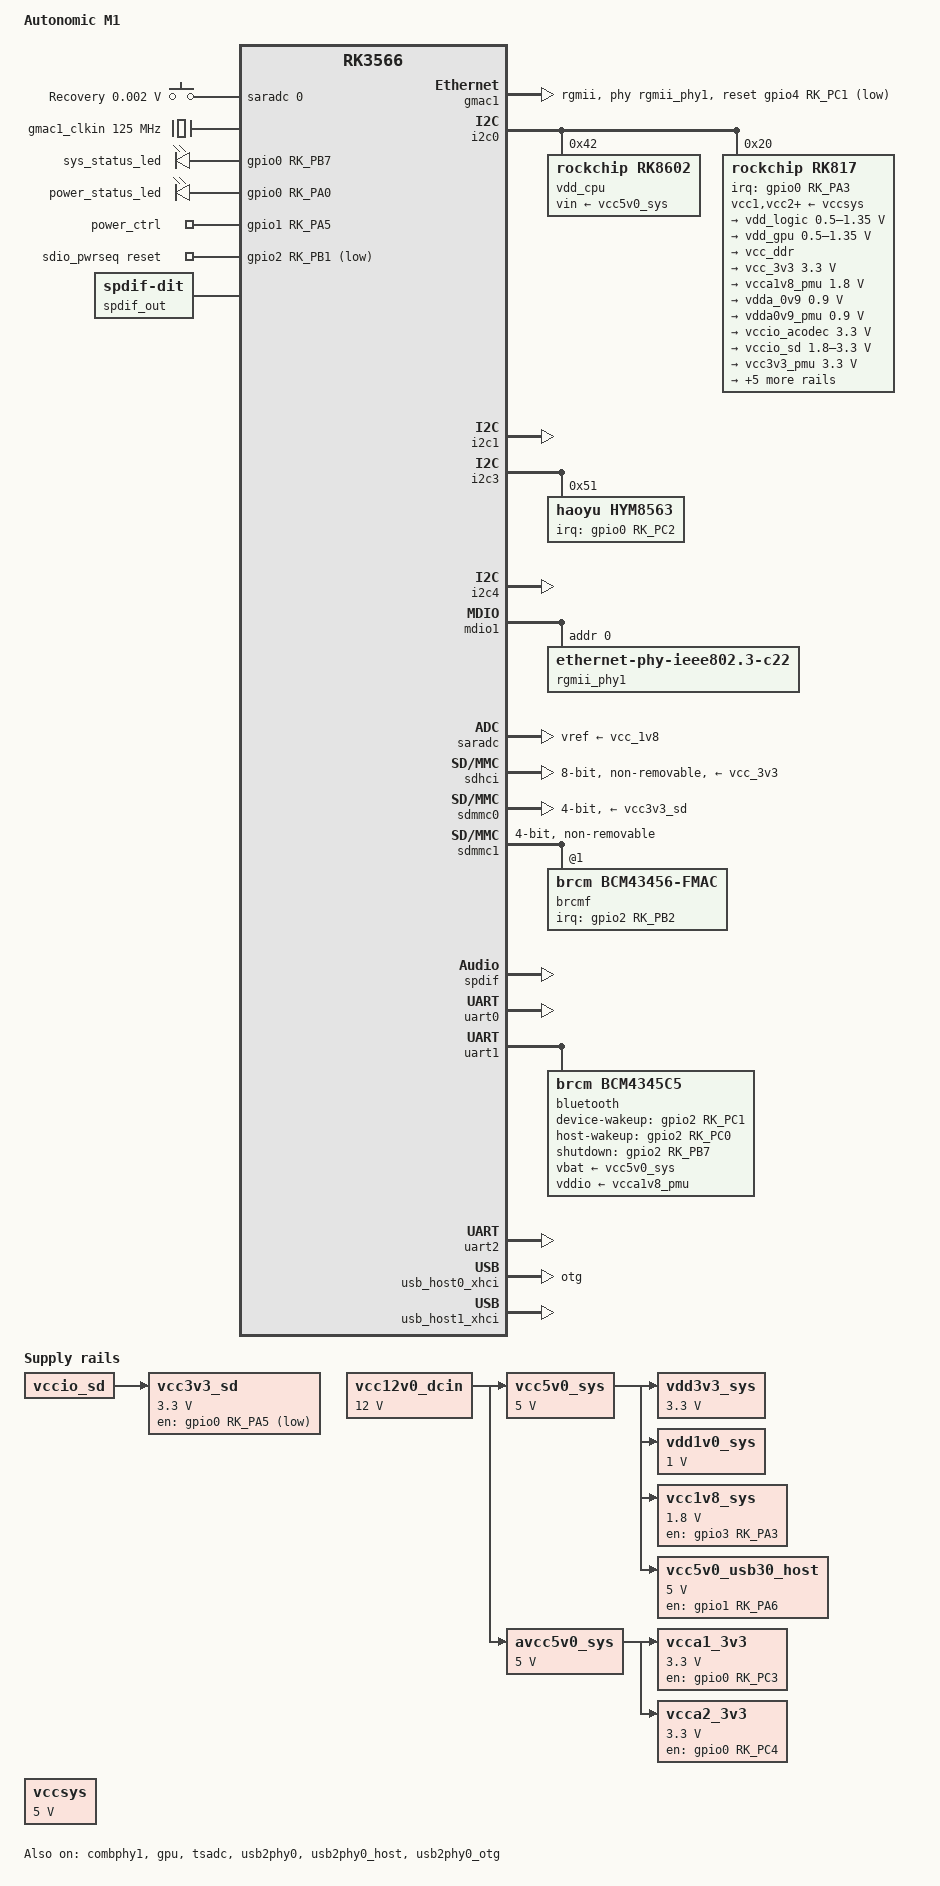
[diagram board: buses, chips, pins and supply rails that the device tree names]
// SPDX-License-Identifier: (GPL-2.0+ OR MIT)
/*
 * Autonomic M1 (RK3566)
 *
 * Migrated from the Rockchip 5.10 vendor tree DTS.
 * Not migrated (no mainline driver as of 6.18): IT6620 HDMI eARC RX,
 * ES9821 ADC (SPI0), ES9033 DAC (SPI1), HUSB311 USB-C TCPC.
 * HDMI/VOP2 display output intentionally left disabled for now.
 */

/dts-v1/;

#include <dt-bindings/gpio/gpio.h>
#include <dt-bindings/input/input.h>
#include <dt-bindings/interrupt-controller/irq.h>
#include <dt-bindings/pinctrl/rockchip.h>
#include "rk3566.dtsi"

/ {
	model = "Autonomic M1";
	compatible = "autonomic,m1", "rockchip,rk3566";

	aliases {
		ethernet0 = &gmac1;
		mmc0 = &sdhci;
		mmc1 = &sdmmc0;
		mmc2 = &sdmmc1;
		serial2 = &uart2;
	};

	chosen {
		stdout-path = "serial2:1500000n8";
	};

	adc-keys {
		compatible = "adc-keys";
		io-channels = <&saradc 0>;
		io-channel-names = "buttons";
		keyup-threshold-microvolt = <1800000>;
		poll-interval = <100>;

		button-recovery {
			label = "Recovery";
			linux,code = <KEY_VOLUMEUP>;
			press-threshold-microvolt = <2000>;
		};
	};

	gmac1_clkin: external-gmac1-clock {
		compatible = "fixed-clock";
		clock-frequency = <125000000>;
		clock-output-names = "gmac1_clkin";
		#clock-cells = <0>;
	};

	leds {
		compatible = "gpio-leds";
		pinctrl-names = "default";
		pinctrl-0 = <&sys_status_led_pin>, <&power_status_led_pin>,
			    <&power_ctrl_pin>;

		led-0 {
			label = "sys_status_led";
			gpios = <&gpio0 RK_PB7 GPIO_ACTIVE_HIGH>;
			linux,default-trigger = "heartbeat";
		};

		led-1 {
			label = "power_status_led";
			gpios = <&gpio0 RK_PA0 GPIO_ACTIVE_HIGH>;
			linux,default-trigger = "heartbeat";
		};

		led-2 {
			label = "power_ctrl";
			gpios = <&gpio1 RK_PA5 GPIO_ACTIVE_HIGH>;
			default-state = "off";
		};
	};

	reserved-memory {
		#address-cells = <2>;
		#size-cells = <2>;
		ranges;

		optee@8400000 {
			reg = <0x0 0x08400000 0x0 0x01000000>;
			no-map;
		};
	};

	sdio_pwrseq: sdio-pwrseq {
		compatible = "mmc-pwrseq-simple";
		clocks = <&hym8563>;
		clock-names = "ext_clock";
		pinctrl-names = "default";
		pinctrl-0 = <&wifi_enable_h>;
		post-power-on-delay-ms = <200>;
		reset-gpios = <&gpio2 RK_PB1 GPIO_ACTIVE_LOW>;
	};

	spdif-sound {
		compatible = "simple-audio-card";
		simple-audio-card,name = "SPDIF";
		simple-audio-card,mclk-fs = <128>;

		simple-audio-card,cpu {
			sound-dai = <&spdif>;
		};

		simple-audio-card,codec {
			sound-dai = <&spdif_out>;
		};
	};

	spdif_out: spdif-out {
		compatible = "linux,spdif-dit";
		#sound-dai-cells = <0>;
	};

	vcc12v0_dcin: regulator-vcc12v0-dcin {
		compatible = "regulator-fixed";
		regulator-name = "vcc12v0_dcin";
		regulator-always-on;
		regulator-boot-on;
		regulator-min-microvolt = <12000000>;
		regulator-max-microvolt = <12000000>;
	};

	vcc5v0_sys: regulator-vcc5v0-sys {
		compatible = "regulator-fixed";
		regulator-name = "vcc5v0_sys";
		regulator-always-on;
		regulator-boot-on;
		regulator-min-microvolt = <5000000>;
		regulator-max-microvolt = <5000000>;
		vin-supply = <&vcc12v0_dcin>;
	};

	avcc5v0_sys: regulator-avcc5v0-sys {
		compatible = "regulator-fixed";
		regulator-name = "avcc5v0_sys";
		regulator-always-on;
		regulator-boot-on;
		regulator-min-microvolt = <5000000>;
		regulator-max-microvolt = <5000000>;
		vin-supply = <&vcc12v0_dcin>;
	};

	vdd3v3_sys: regulator-vdd3v3-sys {
		compatible = "regulator-fixed";
		regulator-name = "vdd3v3_sys";
		regulator-always-on;
		regulator-boot-on;
		regulator-min-microvolt = <3300000>;
		regulator-max-microvolt = <3300000>;
		vin-supply = <&vcc5v0_sys>;
	};

	vdd1v0_sys: regulator-vdd1v0-sys {
		compatible = "regulator-fixed";
		regulator-name = "vdd1v0_sys";
		regulator-always-on;
		regulator-boot-on;
		regulator-min-microvolt = <1000000>;
		regulator-max-microvolt = <1000000>;
		vin-supply = <&vcc5v0_sys>;
	};

	vcc1v8_sys: regulator-vcc1v8-sys {
		compatible = "regulator-fixed";
		regulator-name = "vcc1v8_sys";
		regulator-always-on;
		regulator-boot-on;
		regulator-min-microvolt = <1800000>;
		regulator-max-microvolt = <1800000>;
		enable-active-high;
		gpio = <&gpio3 RK_PA3 GPIO_ACTIVE_HIGH>;
		vin-supply = <&vcc5v0_sys>;
	};

	vcca1_3v3: regulator-vcca1-3v3 {
		compatible = "regulator-fixed";
		regulator-name = "vcca1_3v3";
		regulator-always-on;
		regulator-boot-on;
		regulator-min-microvolt = <3300000>;
		regulator-max-microvolt = <3300000>;
		enable-active-high;
		gpio = <&gpio0 RK_PC3 GPIO_ACTIVE_HIGH>;
		vin-supply = <&avcc5v0_sys>;
	};

	vcca2_3v3: regulator-vcca2-3v3 {
		compatible = "regulator-fixed";
		regulator-name = "vcca2_3v3";
		regulator-always-on;
		regulator-boot-on;
		regulator-min-microvolt = <3300000>;
		regulator-max-microvolt = <3300000>;
		enable-active-high;
		gpio = <&gpio0 RK_PC4 GPIO_ACTIVE_HIGH>;
		vin-supply = <&avcc5v0_sys>;
	};

	vcc5v0_usb30_host: regulator-vcc5v0-usb30-host {
		compatible = "regulator-fixed";
		regulator-name = "vcc5v0_usb30_host";
		regulator-always-on;
		regulator-boot-on;
		regulator-min-microvolt = <5000000>;
		regulator-max-microvolt = <5000000>;
		enable-active-high;
		gpio = <&gpio1 RK_PA6 GPIO_ACTIVE_HIGH>;
		pinctrl-names = "default";
		pinctrl-0 = <&usb30_host_pwr_en>;
		vin-supply = <&vcc5v0_sys>;
	};

	vcc3v3_sd: regulator-vcc3v3-sd {
		compatible = "regulator-fixed";
		regulator-name = "vcc3v3_sd";
		regulator-always-on;
		regulator-boot-on;
		regulator-min-microvolt = <3300000>;
		regulator-max-microvolt = <3300000>;
		gpio = <&gpio0 RK_PA5 GPIO_ACTIVE_LOW>;
		pinctrl-names = "default";
		pinctrl-0 = <&vcc_sd_h>;
		vin-supply = <&vccio_sd>;
	};

	vccsys: regulator-vccsys {
		compatible = "regulator-fixed";
		regulator-name = "vcc5_sys";
		regulator-always-on;
		regulator-boot-on;
		regulator-min-microvolt = <5000000>;
		regulator-max-microvolt = <5000000>;
	};
};

&cpu0 {
	cpu-supply = <&vdd_cpu>;
};

&cpu1 {
	cpu-supply = <&vdd_cpu>;
};

&cpu2 {
	cpu-supply = <&vdd_cpu>;
};

&cpu3 {
	cpu-supply = <&vdd_cpu>;
};

&combphy1 {
	status = "okay";
};

&gmac1 {
	assigned-clocks = <&cru SCLK_GMAC1_RX_TX>,
			  <&cru SCLK_GMAC1_RGMII_SPEED>,
			  <&cru SCLK_GMAC1>;
	assigned-clock-parents = <&cru SCLK_GMAC1_RGMII_SPEED>,
				 <&cru SCLK_GMAC1>,
				 <&gmac1_clkin>;
	clock_in_out = "input";
	phy-handle = <&rgmii_phy1>;
	phy-mode = "rgmii";
	pinctrl-names = "default";
	pinctrl-0 = <&gmac1m0_miim
		     &gmac1m0_tx_bus2
		     &gmac1m0_rx_bus2
		     &gmac1m0_rgmii_clk
		     &gmac1m0_clkinout
		     &gmac1m0_rgmii_bus>;
	snps,reset-gpio = <&gpio4 RK_PC1 GPIO_ACTIVE_LOW>;
	snps,reset-active-low;
	/* Reset time is 20ms, 100ms for rtl8211f */
	snps,reset-delays-us = <0 20000 100000>;
	tx_delay = <0x4f>;
	rx_delay = <0x25>;
	status = "okay";
};

&gpu {
	mali-supply = <&vdd_gpu>;
	status = "okay";
};

&i2c0 {
	pinctrl-names = "default";
	pinctrl-0 = <&i2c0_xfer>;
	status = "okay";

	vdd_cpu: regulator@42 {
		compatible = "rockchip,rk8602";
		reg = <0x42>;
		fcs,suspend-voltage-selector = <1>;
		regulator-name = "vdd_cpu";
		regulator-always-on;
		regulator-boot-on;
		regulator-min-microvolt = <712500>;
		regulator-max-microvolt = <1200000>;
		regulator-ramp-delay = <2300>;
		vin-supply = <&vcc5v0_sys>;

		regulator-state-mem {
			regulator-on-in-suspend;
		};
	};

	rk817: pmic@20 {
		compatible = "rockchip,rk817";
		reg = <0x20>;
		interrupt-parent = <&gpio0>;
		interrupts = <RK_PA3 IRQ_TYPE_LEVEL_LOW>;
		#clock-cells = <1>;
		clock-output-names = "rk817-clkout1", "rk817-clkout2";
		pinctrl-names = "default";
		pinctrl-0 = <&pmic_int_l>;
		rockchip,system-power-controller;
		wakeup-source;

		vcc1-supply = <&vccsys>;
		vcc2-supply = <&vccsys>;
		vcc3-supply = <&vccsys>;
		vcc4-supply = <&vccsys>;
		vcc5-supply = <&vccsys>;
		vcc6-supply = <&vccsys>;
		vcc7-supply = <&vccsys>;
		vcc8-supply = <&vccsys>;

		regulators {
			vdd_logic: DCDC_REG1 {
				regulator-name = "vdd_logic";
				regulator-always-on;
				regulator-boot-on;
				regulator-initial-mode = <2>;
				regulator-min-microvolt = <500000>;
				regulator-max-microvolt = <1350000>;
				regulator-ramp-delay = <6001>;
				regulator-state-mem {
					regulator-off-in-suspend;
					regulator-suspend-microvolt = <900000>;
				};
			};

			vdd_gpu: DCDC_REG2 {
				regulator-name = "vdd_gpu";
				regulator-always-on;
				regulator-boot-on;
				regulator-initial-mode = <2>;
				regulator-min-microvolt = <500000>;
				regulator-max-microvolt = <1350000>;
				regulator-ramp-delay = <6001>;
				regulator-state-mem {
					regulator-off-in-suspend;
				};
			};

			vcc_ddr: DCDC_REG3 {
				regulator-name = "vcc_ddr";
				regulator-always-on;
				regulator-boot-on;
				regulator-initial-mode = <2>;
				regulator-state-mem {
					regulator-on-in-suspend;
				};
			};

			vcc_3v3: DCDC_REG4 {
				regulator-name = "vcc_3v3";
				regulator-always-on;
				regulator-boot-on;
				regulator-initial-mode = <2>;
				regulator-min-microvolt = <3300000>;
				regulator-max-microvolt = <3300000>;
				regulator-state-mem {
					regulator-on-in-suspend;
					regulator-suspend-microvolt = <3300000>;
				};
			};

			vcca1v8_pmu: LDO_REG1 {
				regulator-name = "vcca1v8_pmu";
				regulator-always-on;
				regulator-boot-on;
				regulator-min-microvolt = <1800000>;
				regulator-max-microvolt = <1800000>;
				regulator-state-mem {
					regulator-on-in-suspend;
					regulator-suspend-microvolt = <1800000>;
				};
			};

			vdda_0v9: LDO_REG2 {
				regulator-name = "vdda_0v9";
				regulator-always-on;
				regulator-boot-on;
				regulator-min-microvolt = <900000>;
				regulator-max-microvolt = <900000>;
				regulator-state-mem {
					regulator-off-in-suspend;
				};
			};

			vdda0v9_pmu: LDO_REG3 {
				regulator-name = "vdda0v9_pmu";
				regulator-always-on;
				regulator-boot-on;
				regulator-min-microvolt = <900000>;
				regulator-max-microvolt = <900000>;
				regulator-state-mem {
					regulator-on-in-suspend;
					regulator-suspend-microvolt = <900000>;
				};
			};

			vccio_acodec: LDO_REG4 {
				regulator-name = "vccio_acodec";
				regulator-always-on;
				regulator-boot-on;
				regulator-min-microvolt = <3300000>;
				regulator-max-microvolt = <3300000>;
				regulator-state-mem {
					regulator-off-in-suspend;
				};
			};

			vccio_sd: LDO_REG5 {
				regulator-name = "vccio_sd";
				regulator-always-on;
				regulator-boot-on;
				regulator-min-microvolt = <1800000>;
				regulator-max-microvolt = <3300000>;
				regulator-state-mem {
					regulator-off-in-suspend;
				};
			};

			vcc3v3_pmu: LDO_REG6 {
				regulator-name = "vcc3v3_pmu";
				regulator-always-on;
				regulator-boot-on;
				regulator-min-microvolt = <3300000>;
				regulator-max-microvolt = <3300000>;
				regulator-state-mem {
					regulator-on-in-suspend;
					regulator-suspend-microvolt = <3000000>;
				};
			};

			vcc_1v8: LDO_REG7 {
				regulator-name = "vcc_1v8";
				regulator-always-on;
				regulator-boot-on;
				regulator-min-microvolt = <1800000>;
				regulator-max-microvolt = <1800000>;
				regulator-state-mem {
					regulator-off-in-suspend;
				};
			};

			vcc1v8_adc: LDO_REG8 {
				regulator-name = "vcc1v8_adc";
				regulator-always-on;
				regulator-boot-on;
				regulator-min-microvolt = <1800000>;
				regulator-max-microvolt = <1800000>;
				regulator-state-mem {
					regulator-off-in-suspend;
				};
			};

			vcc2v8_dvp: LDO_REG9 {
				regulator-name = "vcc2v8_dvp";
				regulator-always-on;
				regulator-boot-on;
				regulator-min-microvolt = <2800000>;
				regulator-max-microvolt = <2800000>;
				regulator-state-mem {
					regulator-off-in-suspend;
				};
			};

			dcdc_boost: BOOST {
				regulator-name = "boost";
				regulator-always-on;
				regulator-boot-on;
				regulator-min-microvolt = <5000000>;
				regulator-max-microvolt = <5000000>;
				regulator-state-mem {
					regulator-off-in-suspend;
				};
			};

			otg_switch: OTG_SWITCH {
				regulator-name = "otg_switch";
				regulator-state-mem {
					regulator-off-in-suspend;
				};
			};
		};
	};
};

&i2c1 {
	status = "okay";
};

&i2c3 {
	pinctrl-names = "default";
	pinctrl-0 = <&i2c3m0_xfer>;
	status = "okay";

	hym8563: rtc@51 {
		compatible = "haoyu,hym8563";
		reg = <0x51>;
		#clock-cells = <0>;
		clock-output-names = "hym8563";
		interrupt-parent = <&gpio0>;
		interrupts = <RK_PC2 IRQ_TYPE_LEVEL_LOW>;
		pinctrl-names = "default";
		pinctrl-0 = <&hym8563_int>;
		wakeup-source;
	};
};

&i2c4 {
	pinctrl-names = "default";
	pinctrl-0 = <&i2c4m0_xfer>;
	status = "okay";
};

&mdio1 {
	rgmii_phy1: ethernet-phy@0 {
		compatible = "ethernet-phy-ieee802.3-c22";
		reg = <0>;
	};
};

&pmu_io_domains {
	pmuio1-supply = <&vcc3v3_pmu>;
	pmuio2-supply = <&vcc_3v3>;
	vccio1-supply = <&vcc_3v3>;
	vccio2-supply = <&vcc_1v8>;
	vccio3-supply = <&vccio_sd>;
	vccio4-supply = <&vcca1v8_pmu>;
	vccio5-supply = <&vcc_3v3>;
	vccio6-supply = <&vcc_3v3>;
	vccio7-supply = <&vcc_3v3>;
	status = "okay";
};

&saradc {
	vref-supply = <&vcc_1v8>;
	status = "okay";
};

&sdhci {
	bus-width = <8>;
	max-frequency = <200000000>;
	mmc-hs200-1_8v;
	non-removable;
	pinctrl-names = "default";
	pinctrl-0 = <&emmc_bus8 &emmc_clk &emmc_cmd &emmc_datastrobe
		     &emmc_rstnout>;
	vmmc-supply = <&vcc_3v3>;
	vqmmc-supply = <&vcc_1v8>;
	status = "okay";
};

&sdmmc0 {
	bus-width = <4>;
	cap-mmc-highspeed;
	cap-sd-highspeed;
	disable-wp;
	max-frequency = <150000000>;
	sd-uhs-sdr104;
	vmmc-supply = <&vcc3v3_sd>;
	vqmmc-supply = <&vccio_sd>;
	pinctrl-names = "default";
	pinctrl-0 = <&sdmmc0_bus4 &sdmmc0_clk &sdmmc0_cmd &sdmmc0_det>;
	status = "okay";
};

&sdmmc1 {
	bus-width = <4>;
	cap-sd-highspeed;
	cap-sdio-irq;
	keep-power-in-suspend;
	max-frequency = <150000000>;
	mmc-pwrseq = <&sdio_pwrseq>;
	no-mmc;
	no-sd;
	non-removable;
	sd-uhs-sdr104;
	vqmmc-supply = <&vcca1v8_pmu>;
	pinctrl-names = "default";
	pinctrl-0 = <&sdmmc1_bus4 &sdmmc1_cmd &sdmmc1_clk>;
	#address-cells = <1>;
	#size-cells = <0>;
	status = "okay";

	brcmf: wifi@1 {
		compatible = "brcm,bcm43456-fmac", "brcm,bcm4329-fmac";
		reg = <1>;
		interrupt-parent = <&gpio2>;
		interrupts = <RK_PB2 IRQ_TYPE_LEVEL_HIGH>;
		interrupt-names = "host-wake";
		pinctrl-names = "default";
		pinctrl-0 = <&wifi_host_wake_irq>;
	};
};

&spdif {
	status = "okay";
};

&tsadc {
	status = "okay";
};

&uart0 {
	status = "okay";
};

&uart1 {
	pinctrl-names = "default";
	pinctrl-0 = <&uart1m0_xfer &uart1m0_ctsn &uart1m0_rtsn>;
	uart-has-rtscts;
	status = "okay";

	bluetooth {
		compatible = "brcm,bcm4345c5";
		clocks = <&hym8563>;
		clock-names = "lpo";
		device-wakeup-gpios = <&gpio2 RK_PC1 GPIO_ACTIVE_HIGH>;
		host-wakeup-gpios = <&gpio2 RK_PC0 GPIO_ACTIVE_HIGH>;
		shutdown-gpios = <&gpio2 RK_PB7 GPIO_ACTIVE_HIGH>;
		max-speed = <3000000>;
		vbat-supply = <&vcc5v0_sys>;
		vddio-supply = <&vcca1v8_pmu>;
		pinctrl-names = "default";
		pinctrl-0 = <&bt_reg_on_h &bt_wake_host_h &host_wake_bt_h>;
	};
};

&uart2 {
	pinctrl-names = "default";
	pinctrl-0 = <&uart2m0_xfer>;
	status = "okay";
};

&usb2phy0 {
	status = "okay";
};

&usb2phy0_host {
	phy-supply = <&vcc5v0_usb30_host>;
	status = "okay";
};

&usb2phy0_otg {
	status = "okay";
};

&usb_host0_xhci {
	dr_mode = "otg";
	status = "okay";
};

&usb_host1_xhci {
	status = "okay";
};

&pinctrl {
	bt {
		bt_reg_on_h: bt-reg-on-h {
			rockchip,pins = <2 RK_PB7 RK_FUNC_GPIO &pcfg_pull_none>;
		};

		bt_wake_host_h: bt-wake-host-h {
			rockchip,pins = <2 RK_PC0 RK_FUNC_GPIO &pcfg_pull_none>;
		};

		host_wake_bt_h: host-wake-bt-h {
			rockchip,pins = <2 RK_PC1 RK_FUNC_GPIO &pcfg_pull_none>;
		};
	};

	hym8563 {
		hym8563_int: hym8563-int {
			rockchip,pins = <0 RK_PC2 RK_FUNC_GPIO &pcfg_pull_up>;
		};
	};

	leds {
		sys_status_led_pin: sys-status-led-pin {
			rockchip,pins = <0 RK_PB7 RK_FUNC_GPIO &pcfg_pull_none>;
		};

		power_status_led_pin: power-status-led-pin {
			rockchip,pins = <0 RK_PA0 RK_FUNC_GPIO &pcfg_pull_none>;
		};

		power_ctrl_pin: power-ctrl-pin {
			rockchip,pins = <1 RK_PA5 RK_FUNC_GPIO &pcfg_pull_none>;
		};
	};

	pmic {
		pmic_int_l: pmic-int-l {
			rockchip,pins = <0 RK_PA3 RK_FUNC_GPIO &pcfg_pull_up>;
		};
	};

	sdmmc {
		vcc_sd_h: vcc-sd-h {
			rockchip,pins = <0 RK_PA5 RK_FUNC_GPIO &pcfg_pull_none>;
		};
	};

	usb {
		usb30_host_pwr_en: usb30-host-pwr-en {
			rockchip,pins = <1 RK_PA6 RK_FUNC_GPIO &pcfg_pull_none>;
		};
	};

	wifi {
		wifi_enable_h: wifi-enable-h {
			rockchip,pins = <2 RK_PB1 RK_FUNC_GPIO &pcfg_pull_none>;
		};

		wifi_host_wake_irq: wifi-host-wake-irq {
			rockchip,pins = <2 RK_PB2 RK_FUNC_GPIO &pcfg_pull_down>;
		};
	};
};
